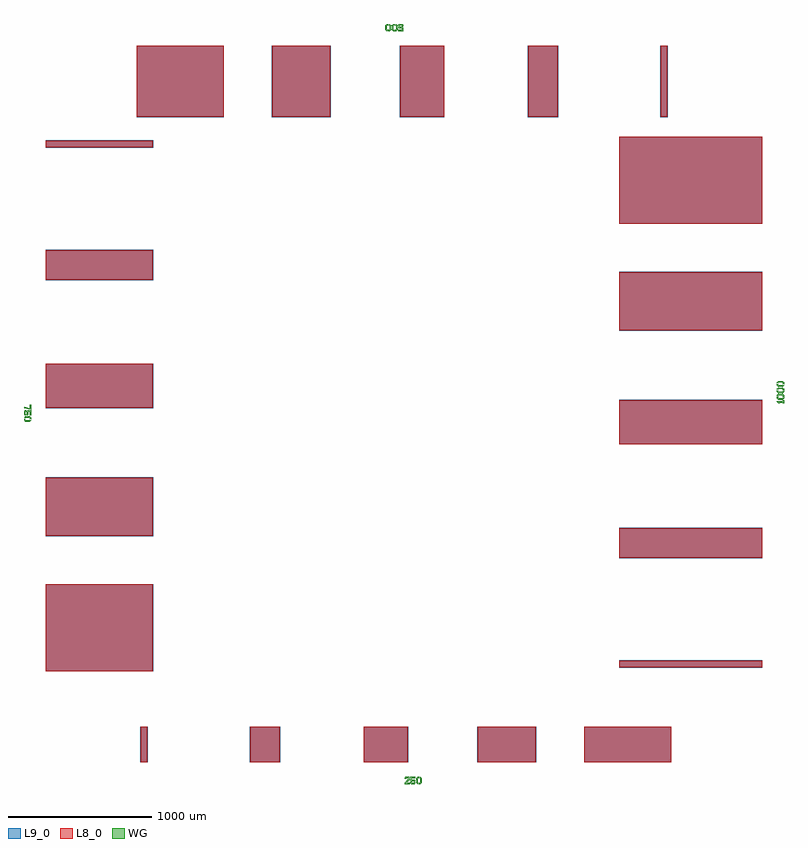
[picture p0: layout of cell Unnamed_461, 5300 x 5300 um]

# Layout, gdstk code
from math import pi, radians
import gdstk
lib = gdstk.Library(unit=1e-6, precision=1e-09)
def R(c, l, rs):  # rectangles x0, y0, x1, y1
    for r in rs: c.add(gdstk.rectangle(r[:2], r[2:], *l))
def P(c, l, *ps):  # polygons
    for p in ps: c.add(gdstk.Polygon(p, *l))
WG = (1, 0)
L8_0 = (8, 0)
L9_0 = (9, 0)

text_t1000_s50_p0_0_jlef = lib.new_cell('text_T1000_S50_P0_0_Jleft_L1_0')
P(text_t1000_s50_p0_0_jlef, WG, [(48.5,0),(51,10),(55,10),(60,15),(60,35),(55,40),(57.5,50),(60,50),(70,40),(70,10),(60,0)],
  [(93.5,0),(96,10),(100,10),(105,15),(105,35),(100,40),(102.5,50),(105,50),(115,40),(115,10),(105,0)],
  [(138.5,0),(141,10),(145,10),(150,15),(150,35),(145,40),(147.5,50),(150,50),(160,40),(160,10),(150,0)],
  [(40,0),(30,10),(30,40),(40,50),(51.5,50),(49,40),(45,40),(40,35),(40,15),(45,10),(42.5,0)],
  [(85,0),(75,10),(75,40),(85,50),(96.5,50),(94,40),(90,40),(85,35),(85,15),(90,10),(87.5,0)],
  [(130,0),(120,10),(120,40),(130,50),(141.5,50),(139,40),(135,40),(130,35),(130,15),(135,10),(132.5,0)],
  [(5,0),(5,10),(10,10),(10,30),(5,30),(5,40),(15,50),(20,50),(20,10),(25,10),(25,0)])

rectangle_s610_1000_l9__ = lib.new_cell('rectangle_S610_1000_L9__b08154cd')
R(rectangle_s610_1000_l9__, L9_0, [(0,0,610,1000)])

rectangle_s150_998_l8_0_ = lib.new_cell('rectangle_S150_998_L8_0_cd40ac17')
R(rectangle_s150_998_l8_0_, L8_0, [(0,0,150,998)])

unnamed_455 = lib.new_cell('Unnamed_455')
unnamed_455.add(gdstk.Reference(rectangle_s610_1000_l9__, (1098,0)))
unnamed_455.add(gdstk.Reference(rectangle_s150_998_l8_0_, (1100,0)))
unnamed_455.add(gdstk.Reference(rectangle_s150_998_l8_0_, (1252,0)))
unnamed_455.add(gdstk.Reference(rectangle_s150_998_l8_0_, (1404,0)))
unnamed_455.add(gdstk.Reference(rectangle_s150_998_l8_0_, (1556,0)))

rectangle_s310_1000_l9__ = lib.new_cell('rectangle_S310_1000_L9__5df5b7dc')
R(rectangle_s310_1000_l9__, L9_0, [(0,0,310,1000)])

rectangle_s75_998_l8_0__ = lib.new_cell('rectangle_S75_998_L8_0__cc8ebacf')
R(rectangle_s75_998_l8_0__, L8_0, [(0,0,75,998)])

unnamed_453 = lib.new_cell('Unnamed_453')
unnamed_453.add(gdstk.Reference(rectangle_s310_1000_l9__, (1098,0)))
unnamed_453.add(gdstk.Reference(rectangle_s75_998_l8_0__, (1100,0)))
unnamed_453.add(gdstk.Reference(rectangle_s75_998_l8_0__, (1177,0)))
unnamed_453.add(gdstk.Reference(rectangle_s75_998_l8_0__, (1254,0)))
unnamed_453.add(gdstk.Reference(rectangle_s75_998_l8_0__, (1331,0)))

rectangle_s210_1000_l9__ = lib.new_cell('rectangle_S210_1000_L9__2c233f20')
R(rectangle_s210_1000_l9__, L9_0, [(0,0,210,1000)])

rectangle_s50_998_l8_0__ = lib.new_cell('rectangle_S50_998_L8_0__a3cc393b')
R(rectangle_s50_998_l8_0__, L8_0, [(0,0,50,998)])

unnamed_452 = lib.new_cell('Unnamed_452')
unnamed_452.add(gdstk.Reference(rectangle_s210_1000_l9__, (1098,0)))
unnamed_452.add(gdstk.Reference(rectangle_s50_998_l8_0__, (1100,0)))
unnamed_452.add(gdstk.Reference(rectangle_s50_998_l8_0__, (1152,0)))
unnamed_452.add(gdstk.Reference(rectangle_s50_998_l8_0__, (1204,0)))
unnamed_452.add(gdstk.Reference(rectangle_s50_998_l8_0__, (1256,0)))

rectangle_s410_1000_l9__ = lib.new_cell('rectangle_S410_1000_L9__d644e350')
R(rectangle_s410_1000_l9__, L9_0, [(0,0,410,1000)])

rectangle_s100_998_l8_0_ = lib.new_cell('rectangle_S100_998_L8_0_c306aa22')
R(rectangle_s100_998_l8_0_, L8_0, [(0,0,100,998)])

unnamed_454 = lib.new_cell('Unnamed_454')
unnamed_454.add(gdstk.Reference(rectangle_s410_1000_l9__, (1098,0)))
unnamed_454.add(gdstk.Reference(rectangle_s100_998_l8_0_, (1100,0)))
unnamed_454.add(gdstk.Reference(rectangle_s100_998_l8_0_, (1202,0)))
unnamed_454.add(gdstk.Reference(rectangle_s100_998_l8_0_, (1304,0)))
unnamed_454.add(gdstk.Reference(rectangle_s100_998_l8_0_, (1406,0)))

rectangle_s50_1000_l9_0_ = lib.new_cell('rectangle_S50_1000_L9_0_49e40894')
R(rectangle_s50_1000_l9_0_, L9_0, [(0,0,50,1000)])

rectangle_s10_998_l8_0__ = lib.new_cell('rectangle_S10_998_L8_0__618c10ad')
R(rectangle_s10_998_l8_0__, L8_0, [(0,0,10,998)])

unnamed_451 = lib.new_cell('Unnamed_451')
unnamed_451.add(gdstk.Reference(rectangle_s50_1000_l9_0_, (1098,0)))
unnamed_451.add(gdstk.Reference(rectangle_s10_998_l8_0__, (1100,0)))
unnamed_451.add(gdstk.Reference(rectangle_s10_998_l8_0__, (1112,0)))
unnamed_451.add(gdstk.Reference(rectangle_s10_998_l8_0__, (1124,0)))
unnamed_451.add(gdstk.Reference(rectangle_s10_998_l8_0__, (1136,0)))

unnamed_459 = lib.new_cell('Unnamed_459')
unnamed_459.add(gdstk.Reference(text_t1000_s50_p0_0_jlef, (2500,-150)))
unnamed_459.add(gdstk.Reference(unnamed_455, (2657.333,0)))
unnamed_459.add(gdstk.Reference(unnamed_453, (1120.667,0)))
unnamed_459.add(gdstk.Reference(unnamed_452, (327.333,0)))
unnamed_459.add(gdstk.Reference(unnamed_454, (1914,0)))
unnamed_459.add(gdstk.Reference(unnamed_451, (-436,0)))

rectangle_s610_500_l9_0_ = lib.new_cell('rectangle_S610_500_L9_0_2924ae20')
R(rectangle_s610_500_l9_0_, L9_0, [(0,0,610,500)])

rectangle_s150_498_l8_0_ = lib.new_cell('rectangle_S150_498_L8_0_3344f8a4')
R(rectangle_s150_498_l8_0_, L8_0, [(0,0,150,498)])

unnamed_445 = lib.new_cell('Unnamed_445')
unnamed_445.add(gdstk.Reference(rectangle_s610_500_l9_0_, (1098,0)))
unnamed_445.add(gdstk.Reference(rectangle_s150_498_l8_0_, (1100,0)))
unnamed_445.add(gdstk.Reference(rectangle_s150_498_l8_0_, (1252,0)))
unnamed_445.add(gdstk.Reference(rectangle_s150_498_l8_0_, (1404,0)))
unnamed_445.add(gdstk.Reference(rectangle_s150_498_l8_0_, (1556,0)))

text_t500_s50_p0_0_jleft = lib.new_cell('text_T500_S50_P0_0_Jleft_L1_0')
P(text_t500_s50_p0_0_jleft, WG, [(63.5,0),(66,10),(70,10),(75,15),(75,35),(70,40),(72.5,50),(75,50),(85,40),(85,10),(75,0)],
  [(108.5,0),(111,10),(115,10),(120,15),(120,35),(115,40),(117.5,50),(120,50),(130,40),(130,10),(120,0)],
  [(55,0),(45,10),(45,40),(55,50),(66.5,50),(64,40),(60,40),(55,35),(55,15),(60,10),(57.5,0)],
  [(100,0),(90,10),(90,40),(100,50),(111.5,50),(109,40),(105,40),(100,35),(100,15),(105,10),(102.5,0)],
  [(10,0),(5,5),(5,15),(15,15),(15,10),(30,10),(30,20),(10,20),(5,25),(5,50),(40,50),(40,40),(15,40),(15,30),(35,30),(40,25),(40,5),(35,0)])

rectangle_s310_500_l9_0_ = lib.new_cell('rectangle_S310_500_L9_0_4237744a')
R(rectangle_s310_500_l9_0_, L9_0, [(0,0,310,500)])

rectangle_s75_498_l8_0__ = lib.new_cell('rectangle_S75_498_L8_0__5f6cecd9')
R(rectangle_s75_498_l8_0__, L8_0, [(0,0,75,498)])

unnamed_443 = lib.new_cell('Unnamed_443')
unnamed_443.add(gdstk.Reference(rectangle_s310_500_l9_0_, (1098,0)))
unnamed_443.add(gdstk.Reference(rectangle_s75_498_l8_0__, (1100,0)))
unnamed_443.add(gdstk.Reference(rectangle_s75_498_l8_0__, (1177,0)))
unnamed_443.add(gdstk.Reference(rectangle_s75_498_l8_0__, (1254,0)))
unnamed_443.add(gdstk.Reference(rectangle_s75_498_l8_0__, (1331,0)))

rectangle_s210_500_l9_0_ = lib.new_cell('rectangle_S210_500_L9_0_9d52daf4')
R(rectangle_s210_500_l9_0_, L9_0, [(0,0,210,500)])

rectangle_s50_498_l8_0__ = lib.new_cell('rectangle_S50_498_L8_0__cadecadc')
R(rectangle_s50_498_l8_0__, L8_0, [(0,0,50,498)])

unnamed_442 = lib.new_cell('Unnamed_442')
unnamed_442.add(gdstk.Reference(rectangle_s210_500_l9_0_, (1098,0)))
unnamed_442.add(gdstk.Reference(rectangle_s50_498_l8_0__, (1100,0)))
unnamed_442.add(gdstk.Reference(rectangle_s50_498_l8_0__, (1152,0)))
unnamed_442.add(gdstk.Reference(rectangle_s50_498_l8_0__, (1204,0)))
unnamed_442.add(gdstk.Reference(rectangle_s50_498_l8_0__, (1256,0)))

rectangle_s410_500_l9_0_ = lib.new_cell('rectangle_S410_500_L9_0_356fd5f5')
R(rectangle_s410_500_l9_0_, L9_0, [(0,0,410,500)])

rectangle_s100_498_l8_0_ = lib.new_cell('rectangle_S100_498_L8_0_8e44272a')
R(rectangle_s100_498_l8_0_, L8_0, [(0,0,100,498)])

unnamed_444 = lib.new_cell('Unnamed_444')
unnamed_444.add(gdstk.Reference(rectangle_s410_500_l9_0_, (1098,0)))
unnamed_444.add(gdstk.Reference(rectangle_s100_498_l8_0_, (1100,0)))
unnamed_444.add(gdstk.Reference(rectangle_s100_498_l8_0_, (1202,0)))
unnamed_444.add(gdstk.Reference(rectangle_s100_498_l8_0_, (1304,0)))
unnamed_444.add(gdstk.Reference(rectangle_s100_498_l8_0_, (1406,0)))

rectangle_s50_500_l9_0__ = lib.new_cell('rectangle_S50_500_L9_0__e85c1ad9')
R(rectangle_s50_500_l9_0__, L9_0, [(0,0,50,500)])

rectangle_s10_498_l8_0__ = lib.new_cell('rectangle_S10_498_L8_0__ad3ec932')
R(rectangle_s10_498_l8_0__, L8_0, [(0,0,10,498)])

unnamed_441 = lib.new_cell('Unnamed_441')
unnamed_441.add(gdstk.Reference(rectangle_s50_500_l9_0__, (1098,0)))
unnamed_441.add(gdstk.Reference(rectangle_s10_498_l8_0__, (1100,0)))
unnamed_441.add(gdstk.Reference(rectangle_s10_498_l8_0__, (1112,0)))
unnamed_441.add(gdstk.Reference(rectangle_s10_498_l8_0__, (1124,0)))
unnamed_441.add(gdstk.Reference(rectangle_s10_498_l8_0__, (1136,0)))

unnamed_457 = lib.new_cell('Unnamed_457')
unnamed_457.add(gdstk.Reference(unnamed_445, (2657.333,0)))
unnamed_457.add(gdstk.Reference(text_t500_s50_p0_0_jleft, (2500,-150)))
unnamed_457.add(gdstk.Reference(unnamed_443, (1120.667,0)))
unnamed_457.add(gdstk.Reference(unnamed_442, (327.333,0)))
unnamed_457.add(gdstk.Reference(unnamed_444, (1914,0)))
unnamed_457.add(gdstk.Reference(unnamed_441, (-436,0)))

unnamed_460 = lib.new_cell('Unnamed_460')

text_t750_s50_p0_0_jleft = lib.new_cell('text_T750_S50_P0_0_Jleft_L1_0')
P(text_t750_s50_p0_0_jleft, WG, [(95,0),(85,10),(85,40),(95,50),(106.5,50),(104,40),(100,40),(95,35),(95,15),(100,10),(97.5,0)],
  [(50,0),(45,5),(45,15),(55,15),(55,10),(70,10),(70,20),(50,20),(45,25),(45,50),(80,50),(80,40),(55,40),(55,30),(75,30),(80,25),(80,5),(75,0)],
  [(103.5,0),(106,10),(110,10),(115,15),(115,35),(110,40),(112.5,50),(115,50),(125,40),(125,10),(115,0)],
  [(20,0),(28,40),(5,40),(5,50),(40,50),(30,0)])

rectangle_s210_750_l9_0_ = lib.new_cell('rectangle_S210_750_L9_0_80ab2e64')
R(rectangle_s210_750_l9_0_, L9_0, [(0,0,210,750)])

rectangle_s50_748_l8_0__ = lib.new_cell('rectangle_S50_748_L8_0__e69bb82a')
R(rectangle_s50_748_l8_0__, L8_0, [(0,0,50,748)])

unnamed_447 = lib.new_cell('Unnamed_447')
unnamed_447.add(gdstk.Reference(rectangle_s210_750_l9_0_, (1098,0)))
unnamed_447.add(gdstk.Reference(rectangle_s50_748_l8_0__, (1100,0)))
unnamed_447.add(gdstk.Reference(rectangle_s50_748_l8_0__, (1152,0)))
unnamed_447.add(gdstk.Reference(rectangle_s50_748_l8_0__, (1204,0)))
unnamed_447.add(gdstk.Reference(rectangle_s50_748_l8_0__, (1256,0)))

rectangle_s410_750_l9_0_ = lib.new_cell('rectangle_S410_750_L9_0_fa67063c')
R(rectangle_s410_750_l9_0_, L9_0, [(0,0,410,750)])

rectangle_s100_748_l8_0_ = lib.new_cell('rectangle_S100_748_L8_0_e52924da')
R(rectangle_s100_748_l8_0_, L8_0, [(0,0,100,748)])

unnamed_449 = lib.new_cell('Unnamed_449')
unnamed_449.add(gdstk.Reference(rectangle_s410_750_l9_0_, (1098,0)))
unnamed_449.add(gdstk.Reference(rectangle_s100_748_l8_0_, (1100,0)))
unnamed_449.add(gdstk.Reference(rectangle_s100_748_l8_0_, (1202,0)))
unnamed_449.add(gdstk.Reference(rectangle_s100_748_l8_0_, (1304,0)))
unnamed_449.add(gdstk.Reference(rectangle_s100_748_l8_0_, (1406,0)))

rectangle_s50_750_l9_0__ = lib.new_cell('rectangle_S50_750_L9_0__6a6b90ef')
R(rectangle_s50_750_l9_0__, L9_0, [(0,0,50,750)])

rectangle_s10_748_l8_0__ = lib.new_cell('rectangle_S10_748_L8_0__afdd4900')
R(rectangle_s10_748_l8_0__, L8_0, [(0,0,10,748)])

unnamed_446 = lib.new_cell('Unnamed_446')
unnamed_446.add(gdstk.Reference(rectangle_s50_750_l9_0__, (1098,0)))
unnamed_446.add(gdstk.Reference(rectangle_s10_748_l8_0__, (1100,0)))
unnamed_446.add(gdstk.Reference(rectangle_s10_748_l8_0__, (1112,0)))
unnamed_446.add(gdstk.Reference(rectangle_s10_748_l8_0__, (1124,0)))
unnamed_446.add(gdstk.Reference(rectangle_s10_748_l8_0__, (1136,0)))

rectangle_s310_750_l9_0_ = lib.new_cell('rectangle_S310_750_L9_0_978c337f')
R(rectangle_s310_750_l9_0_, L9_0, [(0,0,310,750)])

rectangle_s75_748_l8_0__ = lib.new_cell('rectangle_S75_748_L8_0__21cc7b18')
R(rectangle_s75_748_l8_0__, L8_0, [(0,0,75,748)])

unnamed_448 = lib.new_cell('Unnamed_448')
unnamed_448.add(gdstk.Reference(rectangle_s310_750_l9_0_, (1098,0)))
unnamed_448.add(gdstk.Reference(rectangle_s75_748_l8_0__, (1100,0)))
unnamed_448.add(gdstk.Reference(rectangle_s75_748_l8_0__, (1177,0)))
unnamed_448.add(gdstk.Reference(rectangle_s75_748_l8_0__, (1254,0)))
unnamed_448.add(gdstk.Reference(rectangle_s75_748_l8_0__, (1331,0)))

rectangle_s610_750_l9_0_ = lib.new_cell('rectangle_S610_750_L9_0_205fdfa9')
R(rectangle_s610_750_l9_0_, L9_0, [(0,0,610,750)])

rectangle_s150_748_l8_0_ = lib.new_cell('rectangle_S150_748_L8_0_392cc59f')
R(rectangle_s150_748_l8_0_, L8_0, [(0,0,150,748)])

unnamed_450 = lib.new_cell('Unnamed_450')
unnamed_450.add(gdstk.Reference(rectangle_s610_750_l9_0_, (1098,0)))
unnamed_450.add(gdstk.Reference(rectangle_s150_748_l8_0_, (1100,0)))
unnamed_450.add(gdstk.Reference(rectangle_s150_748_l8_0_, (1252,0)))
unnamed_450.add(gdstk.Reference(rectangle_s150_748_l8_0_, (1404,0)))
unnamed_450.add(gdstk.Reference(rectangle_s150_748_l8_0_, (1556,0)))

unnamed_458 = lib.new_cell('Unnamed_458')
unnamed_458.add(gdstk.Reference(text_t750_s50_p0_0_jleft, (2500,-150)))
unnamed_458.add(gdstk.Reference(unnamed_447, (327.333,0)))
unnamed_458.add(gdstk.Reference(unnamed_449, (1914,0)))
unnamed_458.add(gdstk.Reference(unnamed_446, (-436,0)))
unnamed_458.add(gdstk.Reference(unnamed_448, (1120.667,0)))
unnamed_458.add(gdstk.Reference(unnamed_450, (2657.333,0)))

text_t250_s50_p0_0_jleft = lib.new_cell('text_T250_S50_P0_0_Jleft_L1_0')
P(text_t250_s50_p0_0_jleft, WG, [(95,0),(85,10),(85,40),(95,50),(106.5,50),(104,40),(100,40),(95,35),(95,15),(100,10),(97.5,0)],
  [(50,0),(45,5),(45,15),(55,15),(55,10),(70,10),(70,20),(50,20),(45,25),(45,50),(80,50),(80,40),(55,40),(55,30),(75,30),(80,25),(80,5),(75,0)],
  [(103.5,0),(106,10),(110,10),(115,15),(115,35),(110,40),(112.5,50),(115,50),(125,40),(125,10),(115,0)],
  [(5,0),(5,10),(30,35),(30,40),(15,40),(15,35),(5,35),(5,45),(10,50),(35,50),(40,45),(40,30),(20,10),(40,10),(40,0)])

rectangle_s410_250_l9_0_ = lib.new_cell('rectangle_S410_250_L9_0_d3666667')
R(rectangle_s410_250_l9_0_, L9_0, [(0,0,410,250)])

rectangle_s100_248_l8_0_ = lib.new_cell('rectangle_S100_248_L8_0_ec6efe2a')
R(rectangle_s100_248_l8_0_, L8_0, [(0,0,100,248)])

unnamed_439 = lib.new_cell('Unnamed_439')
unnamed_439.add(gdstk.Reference(rectangle_s410_250_l9_0_, (1098,0)))
unnamed_439.add(gdstk.Reference(rectangle_s100_248_l8_0_, (1100,0)))
unnamed_439.add(gdstk.Reference(rectangle_s100_248_l8_0_, (1202,0)))
unnamed_439.add(gdstk.Reference(rectangle_s100_248_l8_0_, (1304,0)))
unnamed_439.add(gdstk.Reference(rectangle_s100_248_l8_0_, (1406,0)))

rectangle_s310_250_l9_0_ = lib.new_cell('rectangle_S310_250_L9_0_fe7d9e96')
R(rectangle_s310_250_l9_0_, L9_0, [(0,0,310,250)])

rectangle_s75_248_l8_0__ = lib.new_cell('rectangle_S75_248_L8_0__2b17ab04')
R(rectangle_s75_248_l8_0__, L8_0, [(0,0,75,248)])

unnamed_438 = lib.new_cell('Unnamed_438')
unnamed_438.add(gdstk.Reference(rectangle_s310_250_l9_0_, (1098,0)))
unnamed_438.add(gdstk.Reference(rectangle_s75_248_l8_0__, (1100,0)))
unnamed_438.add(gdstk.Reference(rectangle_s75_248_l8_0__, (1177,0)))
unnamed_438.add(gdstk.Reference(rectangle_s75_248_l8_0__, (1254,0)))
unnamed_438.add(gdstk.Reference(rectangle_s75_248_l8_0__, (1331,0)))

rectangle_s610_250_l9_0_ = lib.new_cell('rectangle_S610_250_L9_0_b3f54b2f')
R(rectangle_s610_250_l9_0_, L9_0, [(0,0,610,250)])

rectangle_s150_248_l8_0_ = lib.new_cell('rectangle_S150_248_L8_0_45914063')
R(rectangle_s150_248_l8_0_, L8_0, [(0,0,150,248)])

unnamed_440 = lib.new_cell('Unnamed_440')
unnamed_440.add(gdstk.Reference(rectangle_s610_250_l9_0_, (1098,0)))
unnamed_440.add(gdstk.Reference(rectangle_s150_248_l8_0_, (1100,0)))
unnamed_440.add(gdstk.Reference(rectangle_s150_248_l8_0_, (1252,0)))
unnamed_440.add(gdstk.Reference(rectangle_s150_248_l8_0_, (1404,0)))
unnamed_440.add(gdstk.Reference(rectangle_s150_248_l8_0_, (1556,0)))

rectangle_s210_250_l9_0_ = lib.new_cell('rectangle_S210_250_L9_0_89861d4c')
R(rectangle_s210_250_l9_0_, L9_0, [(0,0,210,250)])

rectangle_s50_248_l8_0__ = lib.new_cell('rectangle_S50_248_L8_0__6a217ae2')
R(rectangle_s50_248_l8_0__, L8_0, [(0,0,50,248)])

unnamed_437 = lib.new_cell('Unnamed_437')
unnamed_437.add(gdstk.Reference(rectangle_s210_250_l9_0_, (1098,0)))
unnamed_437.add(gdstk.Reference(rectangle_s50_248_l8_0__, (1100,0)))
unnamed_437.add(gdstk.Reference(rectangle_s50_248_l8_0__, (1152,0)))
unnamed_437.add(gdstk.Reference(rectangle_s50_248_l8_0__, (1204,0)))
unnamed_437.add(gdstk.Reference(rectangle_s50_248_l8_0__, (1256,0)))

rectangle_s50_250_l9_0__ = lib.new_cell('rectangle_S50_250_L9_0__7cc5cbb5')
R(rectangle_s50_250_l9_0__, L9_0, [(0,0,50,250)])

rectangle_s10_248_l8_0__ = lib.new_cell('rectangle_S10_248_L8_0__7390707e')
R(rectangle_s10_248_l8_0__, L8_0, [(0,0,10,248)])

unnamed_436 = lib.new_cell('Unnamed_436')
unnamed_436.add(gdstk.Reference(rectangle_s50_250_l9_0__, (1098,0)))
unnamed_436.add(gdstk.Reference(rectangle_s10_248_l8_0__, (1100,0)))
unnamed_436.add(gdstk.Reference(rectangle_s10_248_l8_0__, (1112,0)))
unnamed_436.add(gdstk.Reference(rectangle_s10_248_l8_0__, (1124,0)))
unnamed_436.add(gdstk.Reference(rectangle_s10_248_l8_0__, (1136,0)))

unnamed_456 = lib.new_cell('Unnamed_456')
unnamed_456.add(gdstk.Reference(text_t250_s50_p0_0_jleft, (2500,-150)))
unnamed_456.add(gdstk.Reference(unnamed_439, (1914,0)))
unnamed_456.add(gdstk.Reference(unnamed_438, (1120.667,0)))
unnamed_456.add(gdstk.Reference(unnamed_440, (2657.333,0)))
unnamed_456.add(gdstk.Reference(unnamed_437, (327.333,0)))
unnamed_456.add(gdstk.Reference(unnamed_436, (-436,0)))

unnamed_461 = lib.new_cell('Unnamed_461')
unnamed_461.add(gdstk.Reference(unnamed_459, (5000,0), rotation=pi/2))
unnamed_461.add(gdstk.Reference(unnamed_457, (5000,5000), rotation=pi))
unnamed_461.add(gdstk.Reference(unnamed_460, (5000,0), rotation=pi/2))
unnamed_461.add(gdstk.Reference(unnamed_458, (0,5000), rotation=3*pi/2))
unnamed_461.add(gdstk.Reference(unnamed_456, (0,0)))

lib.write_gds('Unnamed_461.gds')
